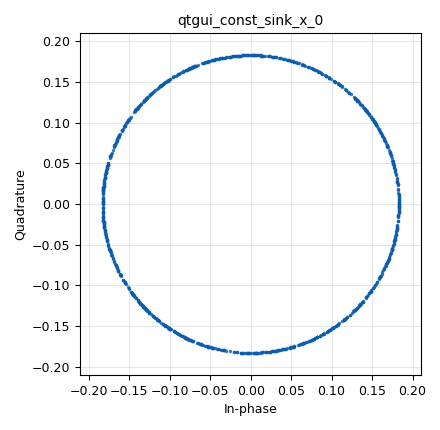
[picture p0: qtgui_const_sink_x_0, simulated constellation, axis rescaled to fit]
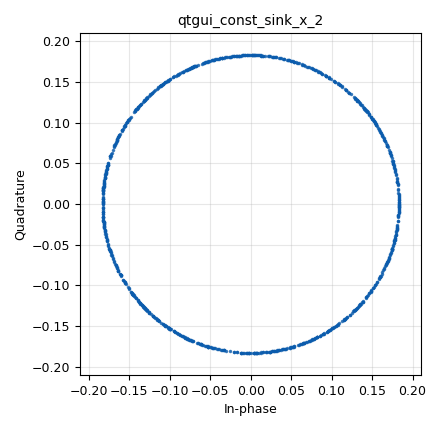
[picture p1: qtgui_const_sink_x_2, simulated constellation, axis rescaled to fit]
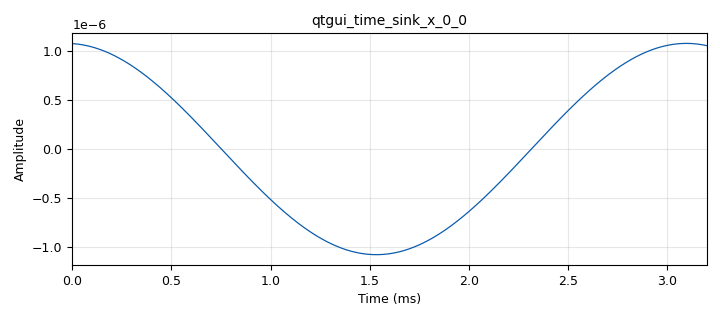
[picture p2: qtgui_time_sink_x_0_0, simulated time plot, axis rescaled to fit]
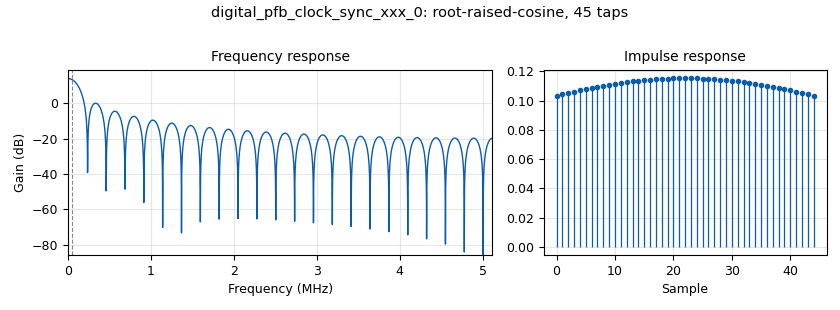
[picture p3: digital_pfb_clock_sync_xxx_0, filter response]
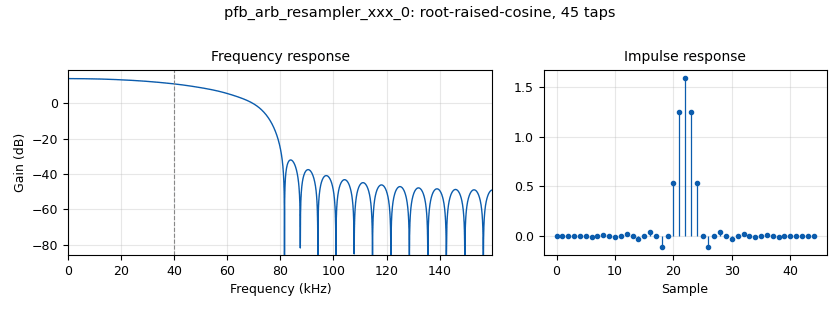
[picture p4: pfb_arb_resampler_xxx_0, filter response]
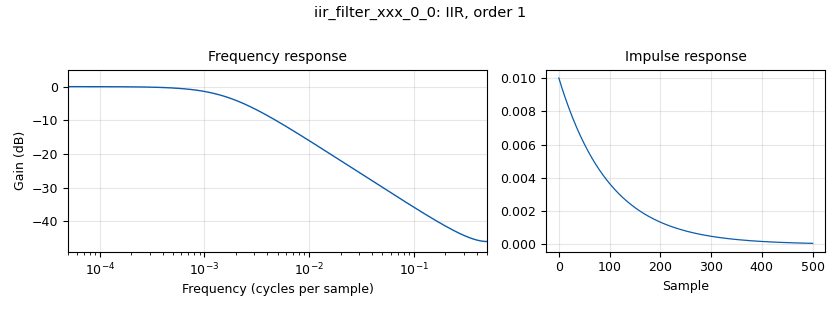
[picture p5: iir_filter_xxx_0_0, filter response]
options:
  parameters:
    author: aditya
    generate_options: qt_gui
    id: viterbi_viterbi_qpsk_phase_detector
    output_language: python
    title: Not titled yet
  states: {}

blocks:
- name: samp_rate
  id: variable
  parameters:
    value: '320000'
  states: {}
- name: sps
  id: variable
  parameters:
    value: '4'
  states: {}
- name: analog_random_source_x_0
  id: analog_random_source_x
  parameters:
    max: '8'
    min: '0'
    num_samps: '1000'
    repeat: 'True'
    type: byte
  states: {}
- name: analog_sig_source_x_0
  id: analog_sig_source_x
  parameters:
    amp: '1'
    freq: '10'
    offset: '0'
    phase: '0'
    samp_rate: samp_rate
    type: complex
    waveform: analog.GR_COS_WAVE
  states: {}
- name: blocks_add_const_vxx_0
  id: blocks_add_const_vxx
  parameters:
    const: '-0.5'
    type: float
  states: {}
- name: blocks_add_const_vxx_0_0
  id: blocks_add_const_vxx
  parameters:
    const: '-0.5'
    type: float
  states: {}
- name: blocks_complex_to_imag_0
  id: blocks_complex_to_imag
  parameters: {}
  states: {}
- name: blocks_complex_to_real_0
  id: blocks_complex_to_real
  parameters: {}
  states: {}
- name: blocks_multiply_conjugate_cc_0
  id: blocks_multiply_conjugate_cc
  parameters: {}
  states: {}
- name: blocks_multiply_const_vxx_1
  id: blocks_multiply_const_vxx
  parameters:
    const: '1.414'
    type: float
  states: {}
- name: blocks_multiply_const_vxx_1_0
  id: blocks_multiply_const_vxx
  parameters:
    const: '1.414'
    type: float
  states: {}
- name: blocks_multiply_xx_0
  id: blocks_multiply_xx
  parameters:
    type: complex
  states: {}
- name: blocks_multiply_xx_0_0
  id: blocks_multiply_xx
  parameters:
    type: float
  states: {}
- name: blocks_multiply_xx_0_1
  id: blocks_multiply_xx
  parameters:
    type: float
  states: {}
- name: blocks_multiply_xx_1
  id: blocks_multiply_xx
  parameters:
    num_inputs: '8'
    type: complex
  states: {}
- name: blocks_sub_xx_0
  id: blocks_sub_xx
  parameters:
    type: float
  states: {}
- name: blocks_threshold_ff_0
  id: blocks_threshold_ff
  parameters:
    high: '0.001'
    init: '0'
    low: '-0.001'
  states: {}
- name: blocks_threshold_ff_0_0
  id: blocks_threshold_ff
  parameters:
    high: '0.001'
    init: '0'
    low: '-0.001'
  states: {}
- name: blocks_throttle_0
  id: blocks_throttle
  parameters:
    samples_per_second: samp_rate
    type: complex
  states: {}
- name: blocks_vco_c_0
  id: blocks_vco_c
  parameters:
    amplitude: '1'
    samp_rate: samp_rate
    sensitivity: samp_rate
  states: {}
- name: digital_chunks_to_symbols_xx_0
  id: digital_chunks_to_symbols_xx
  parameters:
    dimension: '1'
    in_type: byte
    out_type: complex
    symbol_table: '[1+0j,  0.7071+0.7071j, 0+1j, -0.7071+0.7071j, -1+0j, -0.7071-0.7071j, 0-1j,  0.7071-0.7071j]'
  states: {}
- name: digital_pfb_clock_sync_xxx_0
  id: digital_pfb_clock_sync_xxx
  parameters:
    filter_size: '32'
    init_phase: '16'
    loop_bw: 2*3.14159265/100
    max_dev: '1.5'
    osps: '1'
    sps: sps
    taps: firdes.root_raised_cosine(5,32*samp_rate,samp_rate/sps,0.99,11*sps)
    type: ccf
  states: {}
- name: iir_filter_xxx_0_0
  id: iir_filter_xxx
  parameters:
    fbtaps: '[-1,0.99]'
    fftaps: '0.01'
    type: ffd
  states: {}
- name: pfb_arb_resampler_xxx_0
  id: pfb_arb_resampler_xxx
  parameters:
    atten: '100'
    nfilts: '32'
    rrate: sps
    taps: firdes.root_raised_cosine(5,samp_rate,samp_rate/sps,0.99,11*sps)
    type: ccf
  states: {}
- name: plots
  id: qtgui_tab_widget
  parameters:
    label0: QPSK with Frequency Offset
    label1: QPSK Carrier Phase Detection
    label2: Viterbi-Viterbi Algorithm
    num_tabs: '3'
  states: {}
- name: qtgui_const_sink_x_0
  id: qtgui_const_sink_x
  parameters:
    gui_hint: plots@0
    size: '1024'
    type: complex
  states: {}
- name: qtgui_const_sink_x_2
  id: qtgui_const_sink_x
  parameters:
    gui_hint: plots@2
    size: '1024'
    type: complex
  states: {}
- name: qtgui_freq_sink_x_0
  id: qtgui_freq_sink_x
  parameters:
    bw: samp_rate
    fc: '0'
    fftsize: '1024'
    gui_hint: plots@2
    type: complex
  states: {state: disabled}
- name: qtgui_time_sink_x_0_0
  id: qtgui_time_sink_x
  parameters:
    ctrlpanel: 'True'
    gui_hint: plots@1
    size: '1024'
    srate: samp_rate
    type: float
  states: {}
- name: virtual_sink_0
  id: virtual_sink
  parameters:
    stream_id: 8psk_freq_offset
  states: {}
- name: virtual_sink_1
  id: virtual_sink
  parameters:
    stream_id: phase_detector_out
  states: {}
- name: virtual_source_0
  id: virtual_source
  parameters:
    stream_id: 8psk_freq_offset
  states: {}
- name: virtual_source_1
  id: virtual_source
  parameters:
    stream_id: phase_detector_out
  states: {}

connections:
- [analog_random_source_x_0, '0', digital_chunks_to_symbols_xx_0, '0']
- [analog_sig_source_x_0, '0', blocks_multiply_xx_0, '1']
- [blocks_add_const_vxx_0, '0', blocks_multiply_const_vxx_1, '0']
- [blocks_add_const_vxx_0_0, '0', blocks_multiply_const_vxx_1_0, '0']
- [blocks_complex_to_imag_0, '0', blocks_multiply_xx_0_1, '1']
- [blocks_complex_to_imag_0, '0', blocks_threshold_ff_0_0, '0']
- [blocks_complex_to_real_0, '0', blocks_multiply_xx_0_0, '0']
- [blocks_complex_to_real_0, '0', blocks_threshold_ff_0, '0']
- [blocks_multiply_conjugate_cc_0, '0', qtgui_const_sink_x_2, '0']
- [blocks_multiply_const_vxx_1, '0', blocks_multiply_xx_0_1, '0']
- [blocks_multiply_const_vxx_1_0, '0', blocks_multiply_xx_0_0, '1']
- [blocks_multiply_xx_0, '0', digital_pfb_clock_sync_xxx_0, '0']
- [blocks_multiply_xx_0_0, '0', blocks_sub_xx_0, '1']
- [blocks_multiply_xx_0_1, '0', blocks_sub_xx_0, '0']
- [blocks_multiply_xx_1, '0', blocks_complex_to_imag_0, '0']
- [blocks_multiply_xx_1, '0', blocks_complex_to_real_0, '0']
- [blocks_sub_xx_0, '0', iir_filter_xxx_0_0, '0']
- [blocks_sub_xx_0, '0', virtual_sink_1, '0']
- [blocks_threshold_ff_0, '0', blocks_add_const_vxx_0, '0']
- [blocks_threshold_ff_0_0, '0', blocks_add_const_vxx_0_0, '0']
- [blocks_throttle_0, '0', qtgui_const_sink_x_0, '0']
- [blocks_vco_c_0, '0', blocks_multiply_conjugate_cc_0, '1']
- [blocks_vco_c_0, '0', qtgui_freq_sink_x_0, '0']
- [digital_chunks_to_symbols_xx_0, '0', pfb_arb_resampler_xxx_0, '0']
- [digital_pfb_clock_sync_xxx_0, '0', blocks_throttle_0, '0']
- [digital_pfb_clock_sync_xxx_0, '0', virtual_sink_0, '0']
- [iir_filter_xxx_0_0, '0', qtgui_time_sink_x_0_0, '0']
- [pfb_arb_resampler_xxx_0, '0', blocks_multiply_xx_0, '0']
- [virtual_source_0, '0', blocks_multiply_conjugate_cc_0, '0']
- [virtual_source_0, '0', blocks_multiply_xx_1, '0']
- [virtual_source_0, '0', blocks_multiply_xx_1, '1']
- [virtual_source_0, '0', blocks_multiply_xx_1, '2']
- [virtual_source_0, '0', blocks_multiply_xx_1, '3']
- [virtual_source_0, '0', blocks_multiply_xx_1, '4']
- [virtual_source_0, '0', blocks_multiply_xx_1, '5']
- [virtual_source_0, '0', blocks_multiply_xx_1, '6']
- [virtual_source_0, '0', blocks_multiply_xx_1, '7']
- [virtual_source_1, '0', blocks_vco_c_0, '0']

metadata:
  file_format: 1
  grc_version: 3.9.8.0-rc1
